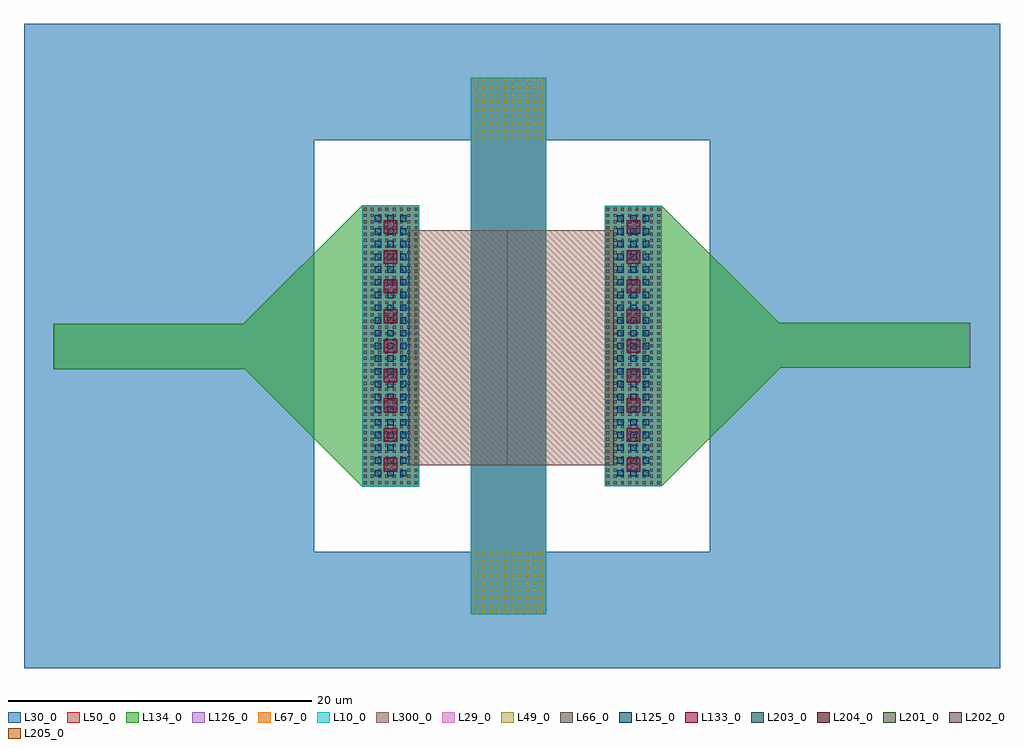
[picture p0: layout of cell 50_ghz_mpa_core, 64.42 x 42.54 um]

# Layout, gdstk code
import gdstk
lib = gdstk.Library(unit=1e-6, precision=1e-09)
def R(c, l, rs):  # rectangles x0, y0, x1, y1
    for r in rs: c.add(gdstk.rectangle(r[:2], r[2:], *l))
def A(c, l, x, y, w, h, nx, ny, dx, dy):  # array of equal rectangles
    R(c, l, [(x+i*dx, y+j*dy, x+i*dx+w, y+j*dy+h) for i in range(nx) for j in range(ny)])
def P(c, l, *ps):  # polygons
    for p in ps: c.add(gdstk.Polygon(p, *l))
L10_0 = (10, 0)
L29_0 = (29, 0)
L30_0 = (30, 0)
L49_0 = (49, 0)
L50_0 = (50, 0)
L66_0 = (66, 0)
L67_0 = (67, 0)
L125_0 = (125, 0)
L126_0 = (126, 0)
L133_0 = (133, 0)
L134_0 = (134, 0)
L201_0 = (201, 0)
L202_0 = (202, 0)
L203_0 = (203, 0)
L204_0 = (204, 0)
L205_0 = (205, 0)
L300_0 = (300, 0)

c_50_ghz_mpa_core = lib.new_cell('50_ghz_mpa_core')
R(c_50_ghz_mpa_core, L10_0, [(-44.935,-60.325,-39.93,-33.375), (-44.695,-60.325,-40.085,-56.195), (-52.09,-51.925,-48.335,-33.325), (-36.065,-51.875,-32.31,-33.375), (-44.935,-33.375,-39.93,-24.935), (-44.695,-29.065,-40.085,-24.935)])
A(c_50_ghz_mpa_core, L29_0, -44.645, -60.275, 0.19, 0.19, 10, 9, 0.48, 0.48)
A(c_50_ghz_mpa_core, L29_0, -51.99, -51.74, 0.19, 0.19, 8, 45, 0.48, 0.41)
A(c_50_ghz_mpa_core, L29_0, -35.965, -51.74, 0.19, 0.19, 8, 45, 0.48, 0.41)
A(c_50_ghz_mpa_core, L29_0, -44.645, -29.015, 0.19, 0.19, 10, 9, 0.48, 0.48)
R(c_50_ghz_mpa_core, L30_0, [(-55.255,-63.9,-29.145,-56.195), (-74.41,-63.89,-72.46,-21.36), (-72.46,-63.89,-55.255,-21.36), (-29.145,-63.89,-11.94,-21.36), (-11.94,-63.89,-9.99,-21.36), (-44.935,-60.325,-39.93,-24.935), (-44.695,-60.325,-40.085,-56.195), (-52.09,-51.925,-48.335,-33.325), (-52.09,-51.925,-48.34,-33.325), (-52.09,-51.925,-48.34,-33.325), (-36.065,-51.875,-32.31,-33.375), (-36.065,-51.875,-32.315,-33.375), (-36.065,-51.875,-32.315,-33.375), (-55.255,-29.065,-29.145,-21.36), (-44.695,-29.065,-40.085,-24.935)])
A(c_50_ghz_mpa_core, L49_0, -44.645, -60.275, 0.19, 0.19, 10, 9, 0.48, 0.48)
A(c_50_ghz_mpa_core, L49_0, -51.99, -51.74, 0.19, 0.19, 8, 45, 0.48, 0.41)
A(c_50_ghz_mpa_core, L49_0, -35.965, -51.74, 0.19, 0.19, 8, 45, 0.48, 0.41)
A(c_50_ghz_mpa_core, L49_0, -44.645, -29.015, 0.19, 0.19, 10, 9, 0.48, 0.48)
R(c_50_ghz_mpa_core, L50_0, [(-44.935,-60.325,-39.93,-24.935), (-44.695,-60.325,-40.085,-56.195), (-52.09,-51.925,-48.335,-33.325), (-52.09,-51.925,-48.34,-33.325), (-52.09,-51.925,-48.34,-33.325), (-36.065,-51.875,-32.31,-33.375), (-36.065,-51.875,-32.315,-33.375), (-36.065,-51.875,-32.315,-33.375), (-44.695,-29.065,-40.085,-24.935)])
A(c_50_ghz_mpa_core, L66_0, -51.99, -51.74, 0.19, 0.19, 8, 45, 0.48, 0.41)
A(c_50_ghz_mpa_core, L66_0, -35.965, -51.74, 0.19, 0.19, 8, 45, 0.48, 0.41)
R(c_50_ghz_mpa_core, L67_0, [(-52.09,-51.925,-48.335,-33.325), (-52.09,-51.925,-48.34,-33.325), (-52.09,-51.925,-48.34,-33.325), (-36.065,-51.875,-32.31,-33.375), (-36.065,-51.875,-32.315,-33.375), (-36.065,-51.875,-32.315,-33.375)])
A(c_50_ghz_mpa_core, L125_0, -51.265, -51.235, 0.42, 0.42, 3, 21, 0.84, 0.84)
A(c_50_ghz_mpa_core, L125_0, -35.24, -51.235, 0.42, 0.42, 3, 21, 0.84, 0.84)
R(c_50_ghz_mpa_core, L126_0, [(-52.09,-51.925,-48.335,-33.325), (-52.09,-51.925,-48.34,-33.325), (-52.09,-51.925,-48.34,-33.325), (-36.065,-51.875,-32.31,-33.375), (-36.065,-51.875,-32.315,-33.375), (-36.065,-51.875,-32.315,-33.375)])
A(c_50_ghz_mpa_core, L133_0, -50.665, -50.915, 0.9, 0.9, 1, 9, 0, 1.96)
A(c_50_ghz_mpa_core, L133_0, -34.64, -50.915, 0.9, 0.9, 1, 9, 0, 1.96)
R(c_50_ghz_mpa_core, L134_0, [(-52.09,-51.925,-48.335,-33.325), (-52.09,-51.925,-48.34,-33.325), (-36.065,-51.875,-32.31,-33.375), (-36.065,-51.875,-32.315,-33.375), (-72.46,-44.175,-52.09,-41.175), (-32.31,-44.08,-11.94,-41.08)])
P(c_50_ghz_mpa_core, L134_0, [(-59.94,-41.175),(-52.09,-33.325),(-52.09,-41.175)],
  [(-52.09,-51.925),(-59.845,-44.175),(-52.09,-44.175)],
  [(-32.31,-51.875),(-32.31,-44.08),(-24.465,-44.08)],
  [(-32.31,-41.08),(-32.31,-33.375),(-24.555,-41.08)])
P(c_50_ghz_mpa_core, L201_0, [(-72.46,-44.175),(-72.46,-41.175),(-72.46,-41.175),(-72.46,-44.175)])
P(c_50_ghz_mpa_core, L202_0, [(-11.94,-44.08),(-11.94,-41.08),(-11.94,-41.08),(-11.94,-44.08)])
P(c_50_ghz_mpa_core, L203_0, [(-49,-50.5),(-49,-35),(-49,-35),(-49,-50.5)])
P(c_50_ghz_mpa_core, L204_0, [(-35.5,-50.5),(-35.5,-35),(-35.5,-35),(-35.5,-50.5)])
P(c_50_ghz_mpa_core, L205_0, [(-42.5,-50.5),(-42.5,-35),(-42.5,-35),(-42.5,-50.5)])
R(c_50_ghz_mpa_core, L300_0, [(-49,-50.5,-35.5,-35)])

lib.write_gds('50_ghz_mpa_core.gds')
